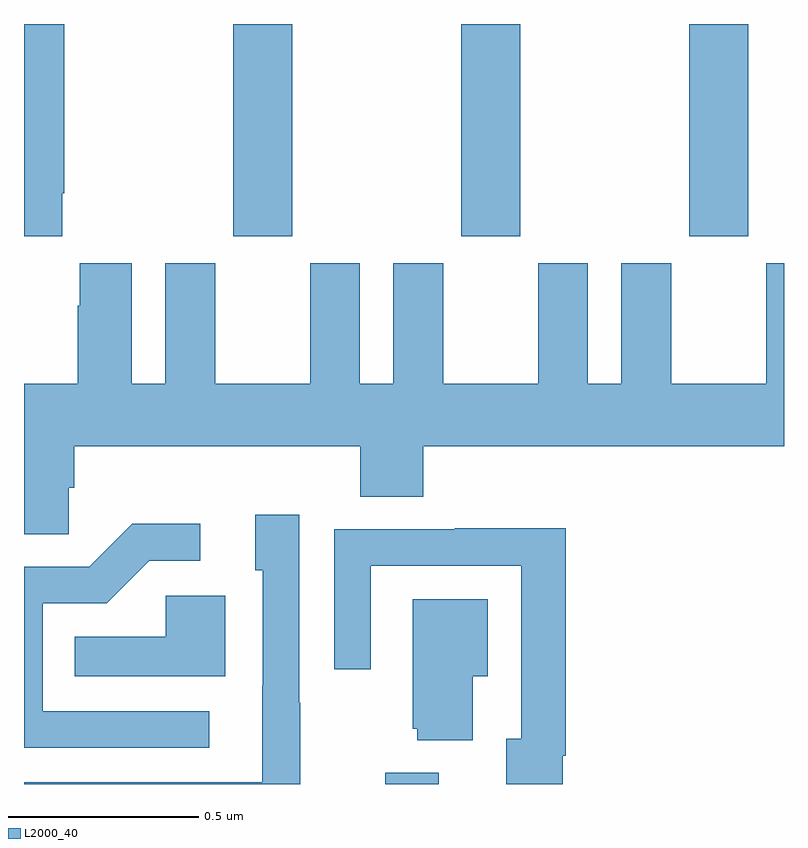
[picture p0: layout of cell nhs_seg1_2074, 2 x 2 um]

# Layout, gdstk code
import gdstk
lib = gdstk.Library(unit=1e-6, precision=1e-09)
def R(c, l, rs):  # rectangles x0, y0, x1, y1
    for r in rs: c.add(gdstk.rectangle(r[:2], r[2:], *l))
def A(c, l, x, y, w, h, nx, ny, dx, dy):  # array of equal rectangles
    R(c, l, [(x+i*dx, y+j*dy, x+i*dx+w, y+j*dy+h) for i in range(nx) for j in range(ny)])
def P(c, l, *ps):  # polygons
    for p in ps: c.add(gdstk.Polygon(p, *l))
L2000_40 = (2000, 40)

nhs_seg1_2074 = lib.new_cell('nhs_seg1_2074')
A(nhs_seg1_2074, L2000_40, 137.551, 529.641, 0.155, 0.558, 3, 1, 0.6, 0)
R(nhs_seg1_2074, L2000_40, [(137.951,528.199,138.091,528.229)])
P(nhs_seg1_2074, L2000_40, [(137.101,529.753),(137.106,529.753),(137.106,530.199),(137,530.199),(137,529.641),(137.101,529.641)],
  [(137.118,528.979),(137.132,528.979),(137.132,529.088),(137.885,529.088),(137.885,528.955),(138.05,528.955),(138.05,529.088),(139,529.088),(139,529.57),(138.953,529.57),(138.953,529.252),(138.703,529.252),(138.703,529.57),(138.572,529.57),(138.572,529.252),(138.484,529.252),(138.484,529.57),(138.353,529.57),(138.353,529.252),(138.103,529.252),(138.103,529.57),(137.972,529.57),(137.972,529.252),(137.884,529.252),(137.884,529.57),(137.753,529.57),(137.753,529.252),(137.503,529.252),(137.503,529.57),(137.372,529.57),(137.372,529.252),(137.284,529.252),(137.284,529.57),(137.147,529.57),(137.147,529.457),(137.141,529.457),(137.141,529.252),(137,529.252),(137,528.856),(137.118,528.856)],
  [(137.727,528.413),(137.724,528.413),(137.724,528.907),(137.609,528.907),(137.609,528.762),(137.628,528.762),(137.628,528.458),(137.627,528.458),(137.627,528.204),(137,528.204),(137,528.199),(137.727,528.199)],
  [(137.488,528.39),(137.049,528.39),(137.049,528.675),(137.218,528.675),(137.329,528.786),(137.464,528.786),(137.464,528.884),(137.285,528.884),(137.172,528.771),(137,528.771),(137,528.294),(137.488,528.294)],
  [(138.418,528.274),(138.425,528.274),(138.425,528.872),(138.133,528.872),(138.133,528.87),(137.817,528.87),(137.817,528.501),(137.913,528.501),(137.913,528.774),(138.309,528.774),(138.309,528.318),(138.269,528.318),(138.269,528.199),(138.418,528.199)],
  [(137.53,528.694),(137.373,528.694),(137.373,528.586),(137.134,528.586),(137.134,528.482),(137.53,528.482)],
  [(138.181,528.482),(138.22,528.482),(138.22,528.685),(138.023,528.685),(138.023,528.345),(138.035,528.345),(138.035,528.314),(138.181,528.314)])

lib.write_gds('nhs_seg1_2074.gds')
